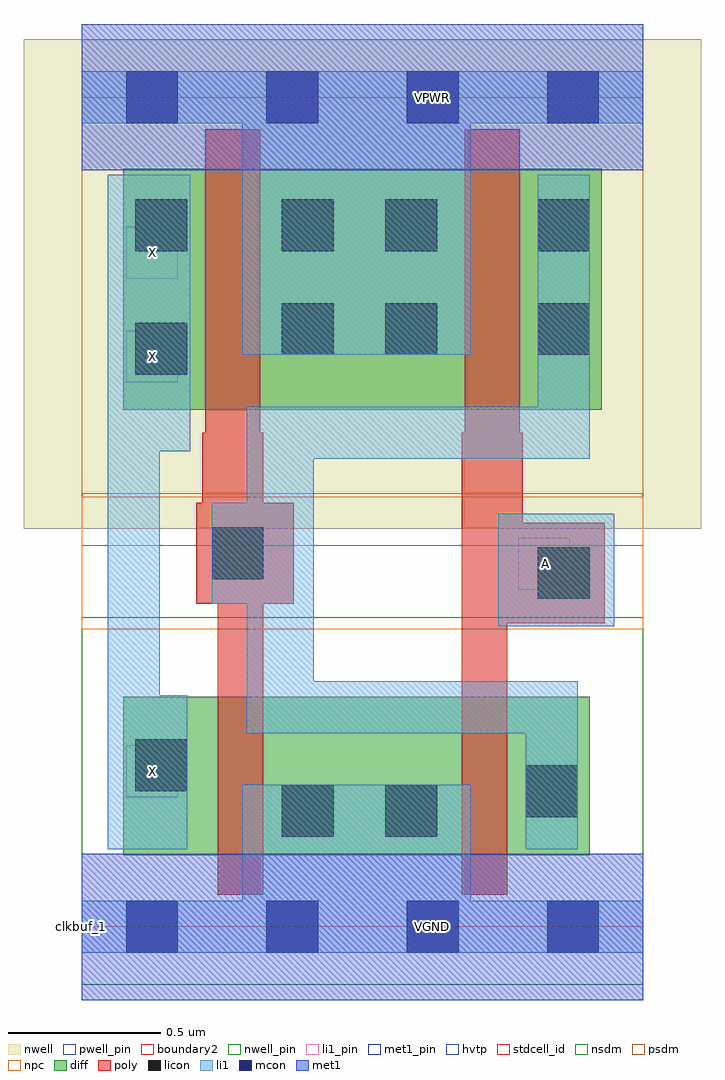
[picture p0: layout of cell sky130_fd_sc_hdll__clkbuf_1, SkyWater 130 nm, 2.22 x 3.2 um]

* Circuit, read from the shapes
.subckt sky130_fd_sc_hdll__clkbuf_1 A VGND VNB VPB VPWR X
XM1 VGND n1 X VNB sky130_fd_pr__nfet_01v8 w=0.52 l=0.15
XM2 n1 A VGND VNB sky130_fd_pr__nfet_01v8 w=0.52 l=0.15
XM3 VPWR n1 X VPB sky130_fd_pr__pfet_01v8_hvt w=0.79 l=0.18
XM4 n1 A VPWR VPB sky130_fd_pr__pfet_01v8_hvt w=0.79 l=0.18
.ends

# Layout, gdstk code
import gdstk
lib = gdstk.Library(unit=1e-6, precision=1e-09)
def R(c, l, rs):  # rectangles x0, y0, x1, y1
    for r in rs: c.add(gdstk.rectangle(r[:2], r[2:], *l))
def A(c, l, x, y, w, h, nx, ny, dx, dy):  # array of equal rectangles
    R(c, l, [(x+i*dx, y+j*dy, x+i*dx+w, y+j*dy+h) for i in range(nx) for j in range(ny)])
def P(c, l, *ps):  # polygons
    for p in ps: c.add(gdstk.Polygon(p, *l))
nwell_pin = (64, 16)
nwell = (64, 20)
diff = (65, 20)
poly = (66, 20)
licon = (66, 44)
li1_pin = (67, 16)
li1 = (67, 20)
mcon = (67, 44)
met1_pin = (68, 16)
met1 = (68, 20)
hvtp = (78, 44)
stdcell_id = (81, 4)
nsdm = (93, 44)
psdm = (94, 20)
npc = (95, 20)
pwell_pin = (122, 16)
boundary2 = (236, 0)

sky130_fd_sc_hdll__clkbu = lib.new_cell('sky130_fd_sc_hdll__clkbuf_1')
R(sky130_fd_sc_hdll__clkbu, nwell_pin, [(1.065,2.635,1.235,2.805)])
R(sky130_fd_sc_hdll__clkbu, nwell, [(-0.19,1.305,2.03,2.91)])
R(sky130_fd_sc_hdll__clkbu, diff, [(0.135,0.235,1.665,0.755), (0.135,1.695,1.705,2.485)])
P(sky130_fd_sc_hdll__clkbu, poly, [(0.445,0.105),(0.445,1.06),(0.375,1.06),(0.375,1.39),(0.395,1.39),(0.395,1.62),(0.405,1.62),(0.405,2.615),(0.585,2.615),(0.585,1.62),(0.595,1.62),(0.595,1.39),(0.695,1.39),(0.695,1.06),(0.595,1.06),(0.595,0.105)],
  [(1.245,0.105),(1.245,1.62),(1.255,1.62),(1.255,2.615),(1.435,2.615),(1.435,1.62),(1.445,1.62),(1.445,1.325),(1.715,1.325),(1.715,0.995),(1.395,0.995),(1.395,0.105)])
R(sky130_fd_sc_hdll__clkbu, licon, [(0.655,0.295,0.825,0.465), (0.995,0.295,1.165,0.465), (1.455,0.36,1.625,0.53), (0.175,0.445,0.345,0.615), (1.495,1.075,1.665,1.245), (0.425,1.14,0.595,1.31), (0.175,1.81,0.345,1.98), (0.655,1.875,0.825,2.045), (0.995,1.875,1.165,2.045), (1.495,1.875,1.665,2.045), (0.175,2.215,0.345,2.385), (0.655,2.215,0.825,2.385), (0.995,2.215,1.165,2.385), (1.495,2.215,1.665,2.385)])
R(sky130_fd_sc_hdll__clkbu, li1_pin, [(0.145,0.425,0.315,0.595), (1.43,1.105,1.6,1.275), (0.145,1.785,0.315,1.955), (0.145,2.125,0.315,2.295)])
R(sky130_fd_sc_hdll__clkbu, li1, [(1.365,0.985,1.745,1.355)])
P(sky130_fd_sc_hdll__clkbu, li1, [(0.085,0.255),(0.085,2.465),(0.355,2.465),(0.355,1.56),(0.255,1.56),(0.255,0.76),(0.345,0.76),(0.345,0.255)],
  [(0,-0.085),(0,0.085),(0.525,0.085),(0.525,0.465),(1.275,0.465),(1.275,0.085),(1.84,0.085),(1.84,-0.085)],
  [(1.455,0.255),(1.455,0.635),(0.54,0.635),(0.54,1.06),(0.425,1.06),(0.425,1.39),(0.54,1.39),(0.54,1.705),(1.495,1.705),(1.495,2.465),(1.665,2.465),(1.665,1.535),(0.76,1.535),(0.76,0.805),(1.625,0.805),(1.625,0.255)],
  [(0.525,1.875),(0.525,2.635),(0,2.635),(0,2.805),(1.84,2.805),(1.84,2.635),(1.275,2.635),(1.275,1.875)])
A(sky130_fd_sc_hdll__clkbu, mcon, 0.145, -0.085, 0.17, 0.17, 4, 2, 0.46, 2.72)
R(sky130_fd_sc_hdll__clkbu, met1_pin, [(1.065,-0.085,1.235,0.085), (1.065,2.635,1.235,2.805)])
R(sky130_fd_sc_hdll__clkbu, met1, [(0,-0.24,1.84,0.24), (0,2.48,1.84,2.96)])
R(sky130_fd_sc_hdll__clkbu, hvtp, [(0,1.25,1.84,2.72)])
R(sky130_fd_sc_hdll__clkbu, stdcell_id, [(0,0,1.84,2.72)])
R(sky130_fd_sc_hdll__clkbu, nsdm, [(0,-0.19,1.84,1.015)])
R(sky130_fd_sc_hdll__clkbu, psdm, [(0,1.42,1.84,2.91)])
R(sky130_fd_sc_hdll__clkbu, npc, [(0,0.975,1.84,1.41)])
R(sky130_fd_sc_hdll__clkbu, pwell_pin, [(1.065,-0.085,1.235,0.085)])
R(sky130_fd_sc_hdll__clkbu, boundary2, [(0,0,1.84,2.72)])
sky130_fd_sc_hdll__clkbu.add(gdstk.Label('VGND', (1.15,0), layer=68, texttype=5))
sky130_fd_sc_hdll__clkbu.add(gdstk.Label('VPWR', (1.15,2.72), layer=68, texttype=5))
sky130_fd_sc_hdll__clkbu.add(gdstk.Label('X', (0.23,0.51), layer=67, texttype=5))
sky130_fd_sc_hdll__clkbu.add(gdstk.Label('X', (0.23,1.87), layer=67, texttype=5))
sky130_fd_sc_hdll__clkbu.add(gdstk.Label('X', (0.23,2.21), layer=67, texttype=5))
sky130_fd_sc_hdll__clkbu.add(gdstk.Label('A', (1.52,1.19), layer=67, texttype=5))
sky130_fd_sc_hdll__clkbu.add(gdstk.Label('VPB', (1.15,2.72), layer=64, texttype=5))
sky130_fd_sc_hdll__clkbu.add(gdstk.Label('VNB', (1.15,0), layer=64, texttype=59))
sky130_fd_sc_hdll__clkbu.add(gdstk.Label('clkbuf_1', (0,0), layer=83, texttype=44))

lib.write_gds('sky130_fd_sc_hdll__clkbuf_1.gds')
